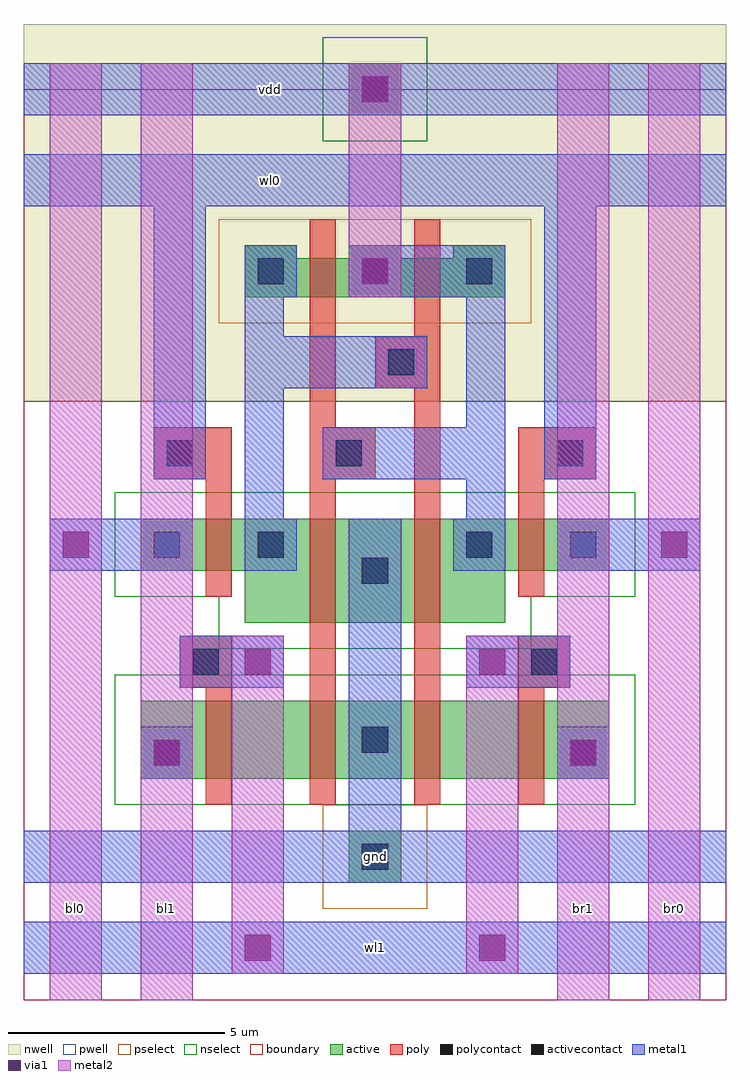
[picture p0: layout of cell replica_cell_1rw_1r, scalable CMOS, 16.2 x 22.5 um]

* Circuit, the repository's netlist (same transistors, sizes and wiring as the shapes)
.SUBCKT replica_cell_1rw_1r bl0 br0 bl1 br1 wl0 wl1 vdd gnd
MM9 RA_to_R_right wl1 br1 gnd n w=1.8u l=0.6u
MM8 RA_to_R_right Q gnd gnd n w=1.8u l=0.6u
MM7 RA_to_R_left vdd gnd gnd n w=1.8u l=0.6u
MM6 RA_to_R_left wl1 bl1 gnd n w=1.8u l=0.6u
MM5 Q wl0 bl0 gnd n w=1.2u l=0.6u
MM4 vdd wl0 br0 gnd n w=1.2u l=0.6u
MM1 Q vdd gnd gnd n w=2.4u l=0.6u
MM0 vdd Q gnd gnd n w=2.4u l=0.6u
MM3 Q vdd vdd vdd p w=0.9u l=0.6u
MM2 vdd Q vdd vdd p w=0.9u l=0.6u
.ENDS

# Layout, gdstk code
import gdstk
lib = gdstk.Library(unit=1e-6, precision=1e-09)
def R(c, l, rs):  # rectangles x0, y0, x1, y1
    for r in rs: c.add(gdstk.rectangle(r[:2], r[2:], *l))
def A(c, l, x, y, w, h, nx, ny, dx, dy):  # array of equal rectangles
    R(c, l, [(x+i*dx, y+j*dy, x+i*dx+w, y+j*dy+h) for i in range(nx) for j in range(ny)])
pwell = (41, 0)
nwell = (42, 0)
active = (43, 0)
pselect = (44, 0)
nselect = (45, 0)
poly = (46, 0)
polycontact = (47, 0)
activecontact = (48, 0)
metal1 = (49, 0)
via1 = (50, 0)
metal2 = (51, 0)
boundary = (63, 0)

replica_cell_1rw_1r = lib.new_cell('replica_cell_1rw_1r')
R(replica_cell_1rw_1r, pwell, [(0,0,16.2,13.8)])
R(replica_cell_1rw_1r, nwell, [(0,13.8,16.2,22.5)])
A(replica_cell_1rw_1r, active, 5.1, 17.1, 1.2, 0.3, 3, 1, 2.4, 0)
R(replica_cell_1rw_1r, active, [(7.5,2.7,8.7,3.9), (2.7,5.1,13.5,6.9), (5.1,8.7,11.1,9.9), (2.7,9.9,13.5,11.1), (5.1,16.2,11.1,17.1), (7.5,20.4,8.7,21.6)])
R(replica_cell_1rw_1r, pselect, [(6.9,2.1,9.3,4.5), (4.5,15.6,11.7,18)])
R(replica_cell_1rw_1r, nselect, [(2.1,4.5,14.1,7.5), (4.5,8.1,11.7,9.3), (2.1,9.3,14.1,11.7), (6.9,19.8,9.3,22.2)])
R(replica_cell_1rw_1r, poly, [(4.2,4.5,4.8,7.2), (6.6,4.5,7.2,12), (9,4.5,9.6,14.1), (11.4,4.5,12,7.2), (3.6,7.2,4.8,8.4), (11.4,7.2,12.6,8.4), (4.2,9.3,4.8,12), (11.4,9.3,12,12), (3,12,4.8,13.2), (6.6,12,8.1,13.2), (11.4,12,13.2,13.2), (6.6,13.2,7.2,18), (8.1,14.1,9.6,15.3), (9,15.3,9.6,18)])
R(replica_cell_1rw_1r, polycontact, [(3.9,7.5,4.5,8.1), (11.7,7.5,12.3,8.1), (3.3,12.3,3.9,12.9), (7.2,12.3,7.8,12.9), (12.3,12.3,12.9,12.9), (8.4,14.4,9,15)])
A(replica_cell_1rw_1r, activecontact, 5.4, 16.5, 0.6, 0.6, 3, 1, 2.4, 0)
R(replica_cell_1rw_1r, activecontact, [(7.8,3,8.4,3.6), (3,5.4,3.6,6), (12.6,5.4,13.2,6), (7.8,5.7,8.4,6.3), (7.8,9.6,8.4,10.2), (3,10.2,3.6,10.8), (5.4,10.2,6,10.8), (10.2,10.2,10.8,10.8), (12.6,10.2,13.2,10.8), (7.8,20.7,8.4,21.3)])
R(replica_cell_1rw_1r, metal1, [(0,0.6,16.2,1.8), (0,2.7,16.2,3.9), (7.5,3.9,8.7,11.1), (2.7,5.1,3.9,6.3), (12.3,5.1,13.5,6.3), (3.6,7.2,6,8.4), (10.2,7.2,12.6,8.4), (0.6,9.9,3.9,11.1), (5.1,9.9,6.3,11.1), (9.9,9.9,11.1,11.1), (12.3,9.9,15.6,11.1), (5.1,11.1,6,14.1), (10.2,11.1,11.1,12), (3,12,4.2,18.3), (6.9,12,11.1,13.2), (12,12,13.2,18.3), (10.2,13.2,11.1,16.2), (5.1,14.1,9.3,15.3), (5.1,15.3,6,16.2), (5.1,16.2,6.3,17.4), (7.5,16.2,11.1,17.4), (0,18.3,16.2,19.5), (0,20.4,16.2,21.6)])
R(replica_cell_1rw_1r, via1, [(5.1,0.9,5.7,1.5), (10.5,0.9,11.1,1.5), (3,5.4,3.6,6), (12.6,5.4,13.2,6), (5.1,7.5,5.7,8.1), (10.5,7.5,11.1,8.1), (0.9,10.2,1.5,10.8), (14.7,10.2,15.3,10.8), (7.8,16.5,8.4,17.1), (7.8,20.7,8.4,21.3)])
R(replica_cell_1rw_1r, metal2, [(0.6,0,1.8,21.6), (2.7,0,3.9,21.6), (12.3,0,13.5,21.6), (14.4,0,15.6,21.6), (4.8,0.6,6,8.4), (10.2,0.6,11.4,8.4), (7.5,16.2,8.7,21.6)])
R(replica_cell_1rw_1r, boundary, [(0,0,16.2,21)])
replica_cell_1rw_1r.add(gdstk.Label('wl0', (5.7,18.9), layer=49, texttype=0))
replica_cell_1rw_1r.add(gdstk.Label('vdd', (5.7,21), layer=49, texttype=0))
replica_cell_1rw_1r.add(gdstk.Label('wl1', (8.1,1.2), layer=49, texttype=0))
replica_cell_1rw_1r.add(gdstk.Label('gnd', (8.1,3.3), layer=49, texttype=0))
replica_cell_1rw_1r.add(gdstk.Label('bl0', (1.2,2.1), layer=51, texttype=0))
replica_cell_1rw_1r.add(gdstk.Label('bl1', (3.3,2.1), layer=51, texttype=0))
replica_cell_1rw_1r.add(gdstk.Label('br1', (12.9,2.1), layer=51, texttype=0))
replica_cell_1rw_1r.add(gdstk.Label('br0', (15,2.1), layer=51, texttype=0))

lib.write_gds('replica_cell_1rw_1r.gds')
